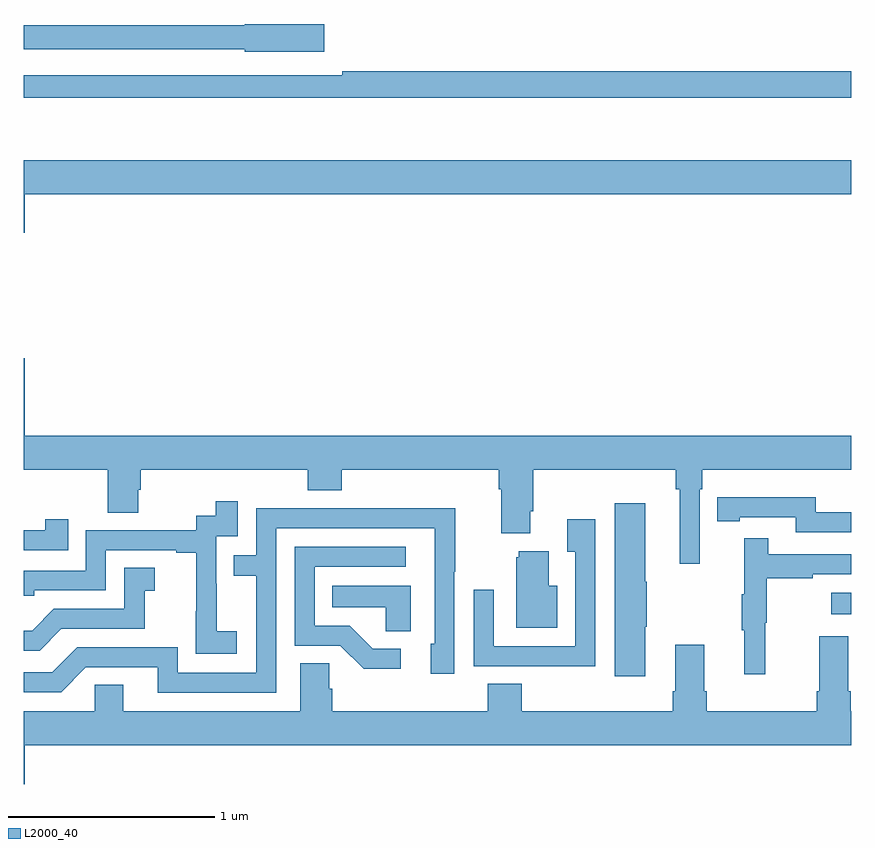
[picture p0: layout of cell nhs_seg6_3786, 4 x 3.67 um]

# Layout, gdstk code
import gdstk
lib = gdstk.Library(unit=1e-6, precision=1e-09)
def R(c, l, rs):  # rectangles x0, y0, x1, y1
    for r in rs: c.add(gdstk.rectangle(r[:2], r[2:], *l))
def P(c, l, *ps):  # polygons
    for p in ps: c.add(gdstk.Polygon(p, *l))
L2000_40 = (2000, 40)

nhs_seg6_3786 = lib.new_cell('nhs_seg6_3786')
R(nhs_seg6_3786, L2000_40, [(336.903,990.593,337,990.697)])
P(nhs_seg6_3786, L2000_40, [(334.453,993.446),(334.068,993.446),(334.068,993.44),(333,993.44),(333,993.324),(334.068,993.324),(334.068,993.311),(334.453,993.311)],
  [(337,993.218),(334.54,993.218),(334.54,993.198),(333,993.198),(333,993.09),(337,993.09)],
  [(333.004,992.624),(337,992.624),(337,992.788),(333,992.788),(333,992.436),(333.004,992.436)],
  [(336.267,991.196),(336.281,991.196),(336.281,991.292),(337,991.292),(337,991.456),(333.004,991.456),(333.004,991.831),(333,991.831),(333,991.292),(333.406,991.292),(333.406,991.084),(333.553,991.084),(333.553,991.194),(333.566,991.194),(333.566,991.292),(334.373,991.292),(334.373,991.193),(334.538,991.193),(334.538,991.292),(335.297,991.292),(335.297,991.196),(335.309,991.196),(335.309,990.983),(335.449,990.983),(335.449,991.09),(335.462,991.09),(335.462,991.292),(336.151,991.292),(336.151,991.196),(336.17,991.196),(336.17,990.837),(336.267,990.837)],
  [(337,991.086),(336.828,991.086),(336.828,991.159),(336.46,991.159),(336.46,991.158),(336.352,991.158),(336.352,991.042),(336.46,991.042),(336.46,991.062),(336.732,991.062),(336.732,990.99),(337,990.99)],
  [(334.03,990.511),(333.932,990.511),(333.932,990.74),(333.93,990.74),(333.93,990.969),(334.035,990.969),(334.035,991.138),(333.927,991.138),(333.927,991.068),(333.834,991.068),(333.834,990.999),(333.3,990.999),(333.3,990.804),(333,990.804),(333,990.681),(333.051,990.681),(333.051,990.708),(333.396,990.708),(333.396,990.903),(333.737,990.903),(333.737,990.891),(333.833,990.891),(333.833,990.607),(333.832,990.607),(333.832,990.401),(334.03,990.401)],
  [(336.004,990.532),(336.012,990.532),(336.012,990.749),(336.004,990.749),(336.004,991.129),(335.858,991.129),(335.858,990.294),(336.004,990.294)],
  [(334.221,991.008),(334.986,991.008),(334.986,990.45),(334.967,990.45),(334.967,990.306),(335.082,990.306),(335.082,990.799),(335.085,990.799),(335.085,991.106),(334.621,991.106),(334.621,991.104),(334.125,991.104),(334.125,990.879),(334.015,990.879),(334.015,990.778),(334.125,990.778),(334.125,990.309),(333.744,990.309),(333.744,990.432),(333.258,990.432),(333.138,990.312),(333,990.312),(333,990.216),(333.18,990.216),(333.3,990.336),(333.647,990.336),(333.647,990.213),(334.221,990.213)],
  [(333.215,991.051),(333.104,991.051),(333.104,990.999),(333,990.999),(333,990.903),(333.215,990.903)],
  [(335.763,991.051),(335.627,991.051),(335.627,990.895),(335.667,990.895),(335.667,990.438),(335.271,990.438),(335.271,990.712),(335.175,990.712),(335.175,990.342),(335.491,990.342),(335.491,990.341),(335.763,990.341)],
  [(336.584,990.552),(336.592,990.552),(336.592,990.766),(336.815,990.766),(336.815,990.786),(337,990.786),(337,990.882),(336.599,990.882),(336.599,990.961),(336.482,990.961),(336.482,990.689),(336.471,990.689),(336.471,990.515),(336.482,990.515),(336.482,990.303),(336.584,990.303)],
  [(334.822,990.426),(334.687,990.426),(334.576,990.537),(334.407,990.537),(334.407,990.822),(334.846,990.822),(334.846,990.918),(334.311,990.918),(334.311,990.441),(334.53,990.441),(334.643,990.329),(334.822,990.329)],
  [(335.578,990.73),(335.539,990.73),(335.539,990.898),(335.393,990.898),(335.393,990.867),(335.381,990.867),(335.381,990.527),(335.578,990.527)],
  [(333.181,990.522),(333.585,990.522),(333.585,990.707),(333.634,990.707),(333.634,990.817),(333.486,990.817),(333.486,990.618),(333.144,990.618),(333.04,990.514),(333,990.514),(333,990.417),(333.076,990.417)],
  [(334.87,990.73),(334.492,990.73),(334.492,990.626),(334.749,990.626),(334.749,990.511),(334.87,990.511)],
  [(333.004,989.96),(337,989.96),(337,990.124),(336.998,990.124),(336.998,990.22),(336.985,990.22),(336.985,990.487),(336.845,990.487),(336.845,990.22),(336.833,990.22),(336.833,990.124),(336.302,990.124),(336.302,990.22),(336.289,990.22),(336.289,990.445),(336.149,990.445),(336.149,990.22),(336.137,990.22),(336.137,990.124),(335.408,990.124),(335.408,990.257),(335.243,990.257),(335.243,990.124),(334.49,990.124),(334.49,990.233),(334.476,990.233),(334.476,990.356),(334.337,990.356),(334.337,990.124),(333.481,990.124),(333.481,990.251),(333.342,990.251),(333.342,990.124),(333,990.124),(333,989.772),(333.004,989.772)])

lib.write_gds('nhs_seg6_3786.gds')
